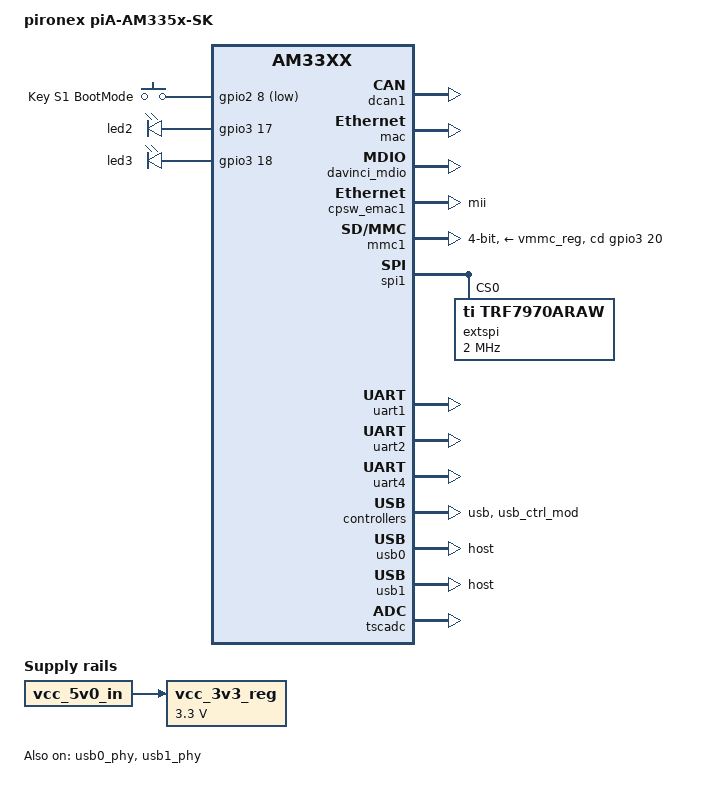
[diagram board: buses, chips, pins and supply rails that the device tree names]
/*
 * Copyright (C) 2015 pironex GmbH (http://www.pironex.de)
 *
 * This program is free software; you can redistribute it and/or modify
 * it under the terms of the GNU General Public License version 2 as
 * published by the Free Software Foundation.
 */
/dts-v1/;

#include "am335x-pia-pm.dtsi"

/ {
	model = "pironex piA-AM335x-SK";
	compatible = "pironex,am335x-pia-sk", "pironex,am335x-pia-pm", "ti,am33xx";

	/* cpus: defined in PM */
	/* memory: defined in PM, TODO different memory configurations */

	vcc_3v3_reg: fixedregulator@1 {
		compatible = "regulator-fixed";
		regulator-name = "vcc_3v3_reg";
		regulator-min-microvolt = <3300000>;
		regulator-max-microvolt = <3300000>;
		regulator-boot-on;
		regulator-always-on;
		vin-supply = <&vcc_5v0_in>; /* turned on with vaux2, supplied by vcc_5v0 */
	};

	buttons: gpio_buttons@0 {
		compatible = "gpio-keys";
		#address-cells = <1>;
		#size-cells = <0>;

		switch@1 {
			label = "Key S1 BootMode";
			linux,code = <0x100>;
			gpios = <&gpio2 8 GPIO_ACTIVE_LOW>;
		};
	};
};

&leds {
	led@2 {
		label = "led2";
		gpios = <&gpio3 17 GPIO_ACTIVE_HIGH>;
		linux,default-trigger = "timer";
		default-state = "on";
	};

	led@3 {
		label = "led3";
		gpios = <&gpio3 18 GPIO_ACTIVE_HIGH>;
		linux,default-trigger = "mmc0";
		default-state = "off";
	};
};

&am33xx_pinmux {
	pinctrl-names = "default";
	pinctrl-0 = <&board_pins>;

	board_pins: pinmux_board_pins {
		pinctrl-single,pins = <
			0x0A8 (PIN_INPUT | MUX_MODE7)	/* SYSBOOT2/S2: lcd_data2.gpio2_8 */
			0x19C (PIN_OUTPUT | MUX_MODE7)	/* LED2: mcasp0_ahclkr.gpio3_17 */
			0x1A0 (PIN_OUTPUT | MUX_MODE7)	/* LED3: mcasp0_aclkr.gpio3_18 */
			0x17c (PIN_INPUT | MUX_MODE7)	/* GPIO0_13 */
			0x178 (PIN_INPUT | MUX_MODE7)	/* GPIO0_12 */
			0x164 (PIN_INPUT | MUX_MODE7)	/* GPIO0_7 */
			0x1b4 (PIN_INPUT | MUX_MODE7)	/* GPIO0_20 */
		>;
	};

	cpsw_default: cpsw_default {
		pinctrl-single,pins = <
			/* Slave 2 */
			0x040 (PIN_OUTPUT_PULLDOWN | MUX_MODE1)	/* gpmc_a0.gmii2_txen */
			0x044 (PIN_INPUT_PULLUP | MUX_MODE1)	/* gpmc_a1.mii2_rxdv */
			0x048 (PIN_OUTPUT_PULLDOWN | MUX_MODE1)	/* gpmc_a2.mii2_txd3 */
			0x04c (PIN_OUTPUT_PULLDOWN | MUX_MODE1)	/* gpmc_a3.mii2_txd2 */
			0x050 (PIN_OUTPUT_PULLDOWN | MUX_MODE1)	/* gpmc_a4.mii2_txd1 */
			0x054 (PIN_OUTPUT_PULLDOWN | MUX_MODE1)	/* gpmc_a5.mii2_txd0 */
			0x058 (PIN_INPUT_PULLUP | MUX_MODE1)	/* gpmc_a6.mii2_txclk */
			0x05c (PIN_INPUT_PULLUP | MUX_MODE1)	/* gpmc_a7.mii2_rxclk */
			0x060 (PIN_INPUT_PULLUP | MUX_MODE1)	/* gpmc_a8.mii2_rxd3 */
			0x064 (PIN_INPUT_PULLUP | MUX_MODE1)	/* gpmc_a9.mii2_rxd2 */
			0x068 (PIN_INPUT_PULLUP | MUX_MODE1)	/* gpmc_a10.mii2_rxd1 */
			0x06c (PIN_INPUT_PULLUP | MUX_MODE1)	/* gpmc_a11.mii2_rxd0 */
			0x070 (PIN_INPUT_PULLUP | MUX_MODE1)	/* gpmc_wait0.gmii2_crs */
			0x074 (PIN_INPUT_PULLUP | MUX_MODE1)	/* gpmc_wpn.gmii2_rxerr */
			0x078 (PIN_INPUT_PULLUP | MUX_MODE1)	/* gpmc_be1n.gmii2_col */
		>;
	};

	cpsw_sleep: cpsw_sleep {
		pinctrl-single,pins = <
			/* Slave 2 reset value */
			0x040 (PIN_INPUT_PULLDOWN | MUX_MODE7)
			0x044 (PIN_INPUT_PULLDOWN | MUX_MODE7)
			0x048 (PIN_INPUT_PULLDOWN | MUX_MODE7)
			0x04c (PIN_INPUT_PULLDOWN | MUX_MODE7)
			0x050 (PIN_INPUT_PULLDOWN | MUX_MODE7)
			0x054 (PIN_INPUT_PULLDOWN | MUX_MODE7)
			0x058 (PIN_INPUT_PULLDOWN | MUX_MODE7)
			0x05c (PIN_INPUT_PULLDOWN | MUX_MODE7)
			0x060 (PIN_INPUT_PULLDOWN | MUX_MODE7)
			0x064 (PIN_INPUT_PULLDOWN | MUX_MODE7)
			0x068 (PIN_INPUT_PULLDOWN | MUX_MODE7)
			0x06c (PIN_INPUT_PULLDOWN | MUX_MODE7)
			0x070 (PIN_INPUT_PULLDOWN | MUX_MODE7)
			0x074 (PIN_INPUT_PULLDOWN | MUX_MODE7)
			0x078 (PIN_INPUT_PULLDOWN | MUX_MODE7)
		>;
	};

	davinci_mdio_default: davinci_mdio_default {
		pinctrl-single,pins = <
			/* MDIO */
			0x148 (PIN_INPUT_PULLUP | SLEWCTRL_FAST | MUX_MODE0)	/* mdio_data.mdio_data */
			0x14c (PIN_OUTPUT_PULLUP | MUX_MODE0)			/* mdio_clk.mdio_clk */
		>;
	};

	davinci_mdio_sleep: davinci_mdio_sleep {
		pinctrl-single,pins = <
			/* MDIO reset value */
			0x148 (PIN_INPUT_PULLDOWN | MUX_MODE7)
			0x14c (PIN_INPUT_PULLDOWN | MUX_MODE7)
		>;
	};

	dcan1_pins: pinmux_dcan1_pins {
		pinctrl-single,pins = <
			0x168 (PIN_OUTPUT | MUX_MODE2)	/* uart0_ctsn.dcan1_tx */
			0x16c (PIN_INPUT | MUX_MODE2)	/* uart0_rtsn.dcan1_rx */
		>;
	};

	mmc1_pins: pinmux_mmc1_pins {
		pinctrl-single,pins = <
			0x0f0 (PIN_INPUT_PULLUP | MUX_MODE0)	/* mmc0_dat0.mmc0_dat0 */
			0x0f4 (PIN_INPUT_PULLUP | MUX_MODE0)	/* mmc0_dat1.mmc0_dat1 */
			0x0f8 (PIN_INPUT_PULLUP | MUX_MODE0)	/* mmc0_dat2.mmc0_dat2 */
			0x0fc (PIN_INPUT_PULLUP | MUX_MODE0)	/* mmc0_dat3.mmc0_dat3 */
			0x100 (PIN_INPUT_PULLUP | MUX_MODE0)	/* mmc0_clk.mmc0_clk */
			0x104 (PIN_INPUT_PULLUP | MUX_MODE0)	/* mmc0_cmd.mmc0_cmd */
			0x1A8 (PIN_INPUT | MUX_MODE7)		/* mcasp0_axr1.gpio3_20 */
		>;
	};

	spi1_pins: pinmux_spi1_pins {
		pinctrl-single,pins = <
			0x190 (PIN_INPUT_PULLUP | MUX_MODE3)	/* mcasp0_aclkx.spi1_sclk */
			0x194 (PIN_INPUT_PULLUP | MUX_MODE3)	/* mcasp0_fsx.spi1_d0 */
			0x198 (PIN_INPUT_PULLUP | MUX_MODE3)	/* mcasp_axr0.spi1_d1 */
			0x144 (PIN_INPUT_PULLUP | MUX_MODE2)	/* rmii1_refclk.spi1_cs0 */
		>;
	};
	extspi_pins: pinmux_extspi_pins {
		pinctrl-single,pins = <
		>;
	};

	uart1_pins: pinmux_uart1_pins {
		pinctrl-single,pins = <
			0x180 (PIN_INPUT_PULLUP | MUX_MODE0)	/* uart1_rxd.uart1_rxd */
			0x184 (PIN_OUTPUT_PULLDOWN | MUX_MODE0)	/* uart1_txd.uart1_txd */
		>;
	};

	uart2_pins: pinmux_uart2_pins {
		pinctrl-single,pins = <
			0x12c (PIN_INPUT_PULLUP | MUX_MODE1)	/* mii1_txclk.uart2_rxd */
			0x130 (PIN_OUTPUT_PULLDOWN | MUX_MODE1)	/* mii1_rxclk.uart2_txd */
		>;
	};

	uart4_pins: pinmux_uart4_pins {
		pinctrl-single,pins = <
			0x11c (PIN_INPUT_PULLUP | MUX_MODE3)	/* mii1_txd3.uart4_rxd */
			0x120 (PIN_OUTPUT_PULLDOWN | MUX_MODE3)	/* mii1_txd2.uart4_txd */
		>;
	};

	usb0_pins: pinmux_usb0_pins {
		pinctrl-single,pins = <
			0x21c (PIN_OUTPUT | MUX_MODE0)	/* usb0_drvvbus.usb0_drvvbus */
		>;
	};

	usb1_pins: pinmux_usb1_pins {
		pinctrl-single,pins = <
			0x234 (PIN_OUTPUT | MUX_MODE0)	/* usb1_drvvbus.usb1_drvvbus */
		>;
	};
};

&dcan0 {
	status = "disabled";
};

&dcan1 {
	pinctrl-names = "default";
	pinctrl-0 = <&dcan1_pins>;
	/* TODO is there a ways to provide a -supply? */

	status = "okay";
};

&mac {
	pinctrl-names = "default", "sleep";
	pinctrl-0 = <&cpsw_default>;
	pinctrl-1 = <&cpsw_sleep>;
	active_slave = <1>; /* only MII2 connected */

	status = "okay";
};

&davinci_mdio {
	pinctrl-names = "default", "sleep";
	pinctrl-0 = <&davinci_mdio_default>;
	pinctrl-1 = <&davinci_mdio_sleep>;

	status = "okay";
};

&cpsw_emac1 {
	phy_id = <&davinci_mdio>, <0>;
	phy-mode = "mii";
};

/* uSD */
&mmc1 {
	vmmc-supply = <&vmmc_reg>;
	bus-width = <4>; /* 4 data lines */
	pinctrl-names = "default";
	pinctrl-0 = <&mmc1_pins>;
	cd-gpios = <&gpio3 20 GPIO_ACTIVE_HIGH>;

	status = "okay";
};

/* Expansion SPI1.0 */
&spi1 {
	pinctrl-names = "default";
	pinctrl-0 = <&spi1_pins>;
	ti,pindir-d0-out-d1-in;

	status = "okay";

	pinctrl-names = "default";
	princtrl-0 = <&spi1_pins>;

	extspi@1 {
		// SPI bus on external port, reuse the TRF7970a name
		// to remove the warning during boot
		compatible = "ti,trf7970araw";
		reg = <0>;
		spi-max-frequency = <2000000>; // 2 MHz

		status = "okay";
	};
};
/* Expansion UART 1 */
&uart1 {
	pinctrl-names = "default";
	pinctrl-0 = <&uart1_pins>;

	status = "okay";
};
/* Expansion UART 2 */
&uart2 {
	pinctrl-names = "default";
	pinctrl-0 = <&uart2_pins>;

	status = "okay";
};
/* Expansion UART 4 */
&uart4 {
	pinctrl-names = "default";
	pinctrl-0 = <&uart4_pins>;

	status = "okay";
};

&usb {
	status = "okay";
};

&usb_ctrl_mod {
	status = "okay";
};

&usb0_phy {
	pinctrl-names = "default";
	pinctrl-0 = <&usb0_pins>;

	status = "okay";
};

&usb1_phy {
	pinctrl-names = "default";
	pinctrl-0 = <&usb1_pins>;

	status = "okay";
};

&usb0 {
	status = "okay";
	dr_mode = "host";
};

&usb1 {
	status = "okay";
	dr_mode = "host";
};

&cppi41dma  {
	status = "okay";
};

&tscadc {
	status = "okay";

	/*tsc { };*/
	adc {
		ti,adc-channels = <0 1 2 3 4 5 6>;
		ti,chan-step-avg = <16>;
	};
};
